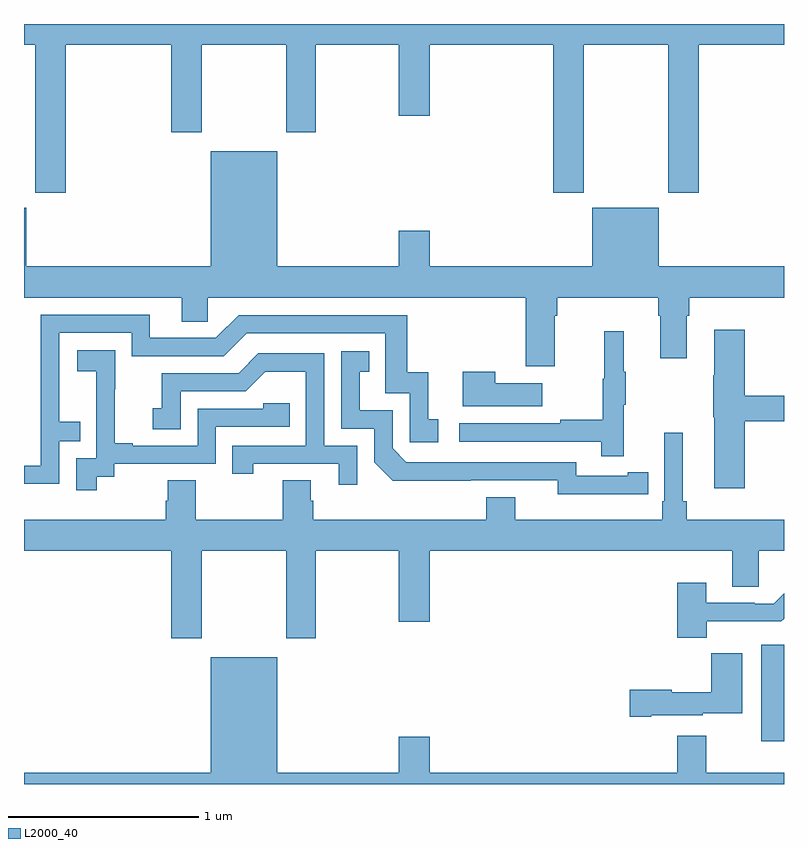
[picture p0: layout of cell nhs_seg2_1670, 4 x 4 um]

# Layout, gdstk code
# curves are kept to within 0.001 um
import gdstk
lib = gdstk.Library(unit=1e-6, precision=1e-09)
def R(c, l, rs):  # rectangles x0, y0, x1, y1
    for r in rs: c.add(gdstk.rectangle(r[:2], r[2:], *l))
def P(c, l, *ps):  # polygons
    for p in ps: c.add(gdstk.Polygon(p, *l))
L2000_40 = (2000, 40)

nhs_seg2_1670 = lib.new_cell('nhs_seg2_1670')
R(nhs_seg2_1670, L2000_40, [(202.88,588.024,203,588.532)])
P(nhs_seg2_1670, L2000_40, [(199,591.692),(199.06,591.692),(199.06,590.913),(199.22,590.913),(199.22,591.692),(199.775,591.692),(199.775,591.231),(199.935,591.231),(199.935,591.692),(200.38,591.692),(200.38,591.231),(200.535,591.231),(200.535,591.692),(200.972,591.692),(200.972,591.318),(201.136,591.318),(201.136,591.692),(201.785,591.692),(201.785,590.913),(201.945,590.913),(201.945,591.692),(202.39,591.692),(202.39,590.913),(202.55,590.913),(202.55,591.692),(203,591.692),(203,591.8),(199,591.8)],
  [(199.982,591.13),(199.982,590.524),(199.012,590.524),(199.012,590.833),(199,590.833),(199,590.36),(199.829,590.36),(199.829,590.233),(199.968,590.233),(199.968,590.36),(201.641,590.36),(201.641,589.998),(201.793,589.998),(201.793,590.264),(201.806,590.264),(201.806,590.36),(202.337,590.36),(202.337,590.264),(202.349,590.264),(202.349,590.04),(202.489,590.04),(202.489,590.264),(202.502,590.264),(202.502,590.36),(203,590.36),(203,590.524),(202.342,590.524),(202.342,590.833),(201.992,590.833),(201.992,590.524),(201.136,590.524),(201.136,590.713),(200.972,590.713),(200.972,590.524),(200.332,590.524),(200.332,591.13)],
  [(199.185,589.605),(199.295,589.605),(199.295,589.706),(199.185,589.706),(199.185,590.175),(199.566,590.175),(199.566,590.052),(200.052,590.052),(200.172,590.172),(200.901,590.172),(200.901,589.857),(201.03,589.857),(201.03,589.599),(201.181,589.599),(201.181,589.719),(201.128,589.719),(201.128,589.966),(201.017,589.966),(201.017,590.268),(200.13,590.268),(200.01,590.148),(199.663,590.148),(199.663,590.271),(199.089,590.271),(199.089,589.476),(199,589.476),(199,589.38),(199.185,589.38)],
  [(202.793,589.708),(203,589.708),(203,589.844),(202.793,589.844),(202.793,590.191),(202.634,590.191),(202.634,589.952),(202.627,589.952),(202.627,589.731),(202.634,589.731),(202.634,589.356),(202.793,589.356)],
  [(202.157,589.795),(202.168,589.795),(202.168,589.969),(202.157,589.969),(202.157,590.182),(202.054,590.182),(202.054,589.932),(202.047,589.932),(202.047,589.718),(201.823,589.718),(201.823,589.698),(201.291,589.698),(201.291,589.602),(202.039,589.602),(202.039,589.524),(202.157,589.524)],
  [(199.384,589.417),(199.476,589.417),(199.476,589.485),(200.01,589.485),(200.01,589.68),(200.399,589.68),(200.399,589.803),(200.259,589.803),(200.259,589.776),(199.914,589.776),(199.914,589.581),(199.573,589.581),(199.573,589.594),(199.478,589.594),(199.478,589.877),(199.479,589.877),(199.479,590.083),(199.281,590.083),(199.281,589.973),(199.379,589.973),(199.379,589.745),(199.38,589.745),(199.38,589.515),(199.275,589.515),(199.275,589.347),(199.384,589.347)],
  [(202.178,589.326),(202.286,589.326),(202.286,589.442),(202.178,589.442),(202.178,589.422),(201.906,589.422),(201.906,589.494),(201.012,589.494),(200.94,589.566),(200.94,589.767),(200.767,589.767),(200.767,589.971),(200.816,589.971),(200.816,590.077),(200.67,590.077),(200.67,589.671),(200.844,589.671),(200.844,589.494),(200.942,589.397),(201.81,589.398),(201.81,589.325)],
  [(200.754,589.581),(200.58,589.581),(200.58,590.067),(200.234,590.067),(200.129,589.962),(199.726,589.962),(199.726,589.777),(199.677,589.777),(199.677,589.668),(199.824,589.668),(199.824,589.866),(200.166,589.866),(200.27,589.97),(200.484,589.97),(200.484,589.581),(200.095,589.581),(200.095,589.434),(200.206,589.434),(200.206,589.485),(200.657,589.485),(200.657,589.374),(200.754,589.374)],
  [(201.727,589.909),(201.479,589.909),(201.479,589.969),(201.308,589.969),(201.308,589.787),(201.727,589.787)],
  [(199.935,589.028),(200.38,589.028),(200.38,588.567),(200.535,588.567),(200.535,589.028),(200.972,589.028),(200.972,588.654),(201.136,588.654),(201.136,589.028),(202.727,589.028),(202.727,588.838),(202.867,588.838),(202.867,589.028),(203,589.028),(203,589.192),(202.487,589.192),(202.487,589.288),(202.468,589.288),(202.468,589.648),(202.371,589.648),(202.371,589.288),(202.358,589.288),(202.358,589.192),(201.586,589.192),(201.586,589.309),(201.434,589.309),(201.434,589.192),(200.522,589.192),(200.522,589.29),(200.509,589.29),(200.509,589.4),(200.362,589.4),(200.362,589.192),(199.905,589.192),(199.905,589.4),(199.757,589.4),(199.757,589.29),(199.745,589.29),(199.745,589.192),(199,589.192),(199,589.028),(199.775,589.028),(199.775,588.567),(199.935,588.567)],
  [(202.594,588.656),(202.985,588.656),(203,588.671),(203,588.804),(202.946,588.75),(202.847,588.75),(202.847,588.753),(202.591,588.753),(202.591,588.859),(202.439,588.859),(202.439,588.569),(202.594,588.569)],
  [(202.3,588.161),(202.572,588.161),(202.572,588.173),(202.78,588.173),(202.78,588.487),(202.618,588.487),(202.618,588.283),(202.41,588.283),(202.41,588.296),(202.188,588.296),(202.188,588.154),(202.3,588.154)],
  [(203,587.86),(202.591,587.86),(202.591,588.055),(202.439,588.055),(202.439,587.86),(201.136,587.86),(201.136,588.049),(200.972,588.049),(200.972,587.86),(200.332,587.86),(200.332,588.466),(199.982,588.466),(199.982,587.86),(199,587.86),(199,587.8),(203,587.8)])

lib.write_gds('nhs_seg2_1670.gds')
